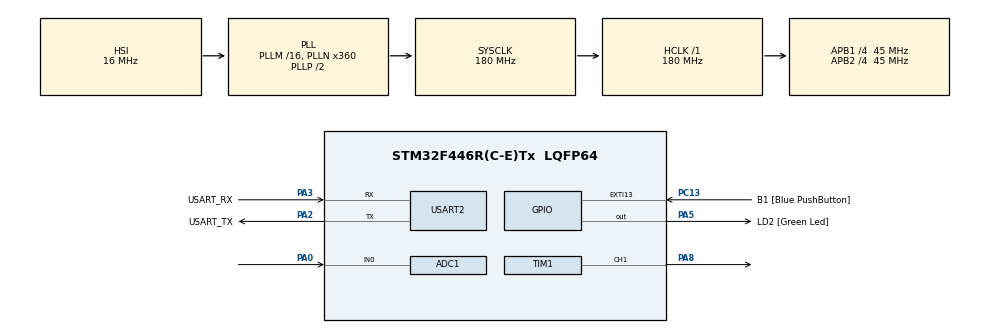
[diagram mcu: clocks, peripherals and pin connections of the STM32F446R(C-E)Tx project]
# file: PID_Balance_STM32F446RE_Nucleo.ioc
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ADC1.Channel-1\#ChannelRegularConversion=ADC_CHANNEL_0
ADC1.ContinuousConvMode=ENABLE
ADC1.NbrOfConversionFlag=1
ADC1.Rank-1\#ChannelRegularConversion=1
ADC1.SamplingTime-1\#ChannelRegularConversion=ADC_SAMPLETIME_3CYCLES
ADC1.ScanConvMode=ENABLE
ADC1.master=1
Mcu.Family=STM32F4
Mcu.Name=STM32F446R(C-E)Tx
Mcu.Package=LQFP64
NVIC.PriorityGroup=NVIC_PRIORITYGROUP_0
PA0-WKUP.Signal=ADCx_IN0
PA13.GPIO_Label=TMS
PA13.Mode=Trace_Asynchronous_SW
PA13.Signal=SYS_JTMS-SWDIO
PA14.GPIO_Label=TCK
PA14.Mode=Trace_Asynchronous_SW
PA14.Signal=SYS_JTCK-SWCLK
PA2.GPIO_Label=USART_TX
PA2.Mode=Asynchronous
PA2.Signal=USART2_TX
PA3.GPIO_Label=USART_RX
PA3.Mode=Asynchronous
PA3.Signal=USART2_RX
PA5.GPIO_Label=LD2 [Green Led]
PA5.Signal=GPIO_Output
PA8.Signal=S_TIM1_CH1
PB3.GPIO_Label=SWO
PB3.Mode=Trace_Asynchronous_SW
PB3.Signal=SYS_JTDO-SWO
PC13.GPIO_Label=B1 [Blue PushButton]
PC13.GPIO_ModeDefaultEXTI=GPIO_MODE_IT_FALLING
PC13.Signal=GPXTI13
PC14-OSC32_IN.Mode=LSE-External-Oscillator
PC14-OSC32_IN.Signal=RCC_OSC32_IN
PC15-OSC32_OUT.Mode=LSE-External-Oscillator
PC15-OSC32_OUT.Signal=RCC_OSC32_OUT
PH0-OSC_IN.Mode=HSE-External-Oscillator
PH0-OSC_IN.Signal=RCC_OSC_IN
PH1-OSC_OUT.Mode=HSE-External-Oscillator
PH1-OSC_OUT.Signal=RCC_OSC_OUT
ProjectManager.HeapSize=0x200
ProjectManager.StackSize=0x400
ProjectManager.TargetToolchain=STM32CubeIDE
RCC.48MHZClocksFreq_Value=84000000
RCC.AHBFreq_Value=180000000
RCC.APB1CLKDivider=RCC_HCLK_DIV4
RCC.APB1Freq_Value=45000000
RCC.APB1TimFreq_Value=90000000
RCC.APB2CLKDivider=RCC_HCLK_DIV4
RCC.APB2Freq_Value=45000000
RCC.APB2TimFreq_Value=90000000
RCC.CortexFreq_Value=180000000
RCC.FLatency-AdvancedSettings=FLASH_LATENCY_5
RCC.HCLKFreq_Value=180000000
RCC.HSE_VALUE=8000000
RCC.HSI_VALUE=16000000
RCC.PLLN=360
RCC.SYSCLKFreq_VALUE=180000000
RCC.SYSCLKSource=RCC_SYSCLKSOURCE_PLLCLK
RCC.USBFreq_Value=180000000
RCC.VCOOutputFreq_Value=360000000
SH.ADCx_IN0.0=ADC1_IN0,IN0
SH.S_TIM1_CH1.0=TIM1_CH1,PWM Generation1 CH1
TIM1.Channel-PWM\ Generation1\ CH1=TIM_CHANNEL_1
TIM1.Period=999
TIM1.Prescaler=8
TIM1.Pulse-PWM\ Generation1\ CH1=499
USART2.VirtualMode=VM_ASYNC
VP_TIM1_VS_ClockSourceINT.Mode=Internal
board=NUCLEO-F446RE

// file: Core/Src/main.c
/* USER CODE BEGIN Header */
/**
  ******************************************************************************
  * @file           : main.c
  * @brief          : Main program body
  ******************************************************************************
  * @attention
  *
  * Copyright (c) 2026 STMicroelectronics.
  * All rights reserved.
  *
  * This software is licensed under terms that can be found in the LICENSE file
  * in the root directory of this software component.
  * If no LICENSE file comes with this software, it is provided AS-IS.
  *
  ******************************************************************************
  */
/* USER CODE END Header */
#include "main.h"
#include "adc.h"
#include "tim.h"
#include "usart.h"
#include "gpio.h"

/* USER CODE BEGIN Includes */
#include <stdio.h>
/* USER CODE END Includes */

/* USER CODE BEGIN PTD */
typedef struct {
  float refAngle;
  float currentAngle;
  float Kp;
  float Ki;
  float Kd;
  float lastError;
  float error;
  float lastTime;
  float currentTime;
  float dt;
  float errorDerivative;
  float errorSum;
  float upperLimit;
  float lowerLimit;
  float output;
} PIDController;

/* USER CODE END PTD */

void SystemClock_Config(void);
void mapVtoPWM(float voltage, uint16_t *pwmValue);
void doPIDControl(PIDController *pid);
float adcToAngle(uint32_t adcValue);

int main(void)
{

  /* MCU Configuration--------------------------------------------------------*/

  /* Reset of all peripherals, Initializes the Flash interface and the Systick. */
  HAL_Init();

  /* USER CODE BEGIN Init */
  PIDController pid {
    .refAngle = 270.0f/2, // Midpoint
    .currentAngle = 0.0f,
    .Kp = 50.0f,
    .Ki = 0.1f,
    .Kd = 10.0f,
    .lastError = 0.0f,
    .error = 0.0f,
    .lastTime = 0.0f,
    .currentTime = 0.0f,
    .dt = 0.0f,
    .errorDerivative = 0.0f,
    .errorSum = 0.0f,
    .upperLimit = 3.0f,
    .lowerLimit = -3.0f,
    .output = 0.0f
  };
  /* USER CODE END Init */

  /* Configure the system clock */
  SystemClock_Config();

  /* Initialize all configured peripherals */
  MX_GPIO_Init();
  MX_ADC1_Init();
  MX_USART2_UART_Init();
  MX_TIM1_Init();

  /* Infinite loop */
  while (1)
  {

    HAL_ADC_START(&hadc1);
    if (HAL_ADC_PollForConversion(&hadc1, 100) == HAL_OK) {
      uint32_t adcValue = HAL_ADC_GetValue(&hadc1);
      pid.currentAngle = adcToAngle(adcValue);
    }

    doPIDControl(&pid);
    uint16_t pwmValue;
    mapVtoPWM(pid.output, &pwmValue);
    __HAL_TIM_SET_COMPARE(&htim1, TIM_CHANNEL_1, pwmValue);

  }
}

void SystemClock_Config(void)
{
  RCC_OscInitTypeDef RCC_OscInitStruct = {0};
  RCC_ClkInitTypeDef RCC_ClkInitStruct = {0};

  /** Configure the main internal regulator output voltage
  */
  __HAL_RCC_PWR_CLK_ENABLE();
  __HAL_PWR_VOLTAGESCALING_CONFIG(PWR_REGULATOR_VOLTAGE_SCALE1);

  /** Initializes the RCC Oscillators according to the specified parameters
  * in the RCC_OscInitTypeDef structure.
  */
  RCC_OscInitStruct.OscillatorType = RCC_OSCILLATORTYPE_HSI;
  RCC_OscInitStruct.HSIState = RCC_HSI_ON;
  RCC_OscInitStruct.HSICalibrationValue = RCC_HSICALIBRATION_DEFAULT;
  RCC_OscInitStruct.PLL.PLLState = RCC_PLL_ON;
  RCC_OscInitStruct.PLL.PLLSource = RCC_PLLSOURCE_HSI;
  RCC_OscInitStruct.PLL.PLLM = 16;
  RCC_OscInitStruct.PLL.PLLN = 360;
  RCC_OscInitStruct.PLL.PLLP = RCC_PLLP_DIV2;
  RCC_OscInitStruct.PLL.PLLQ = 2;
  RCC_OscInitStruct.PLL.PLLR = 2;
  if (HAL_RCC_OscConfig(&RCC_OscInitStruct) != HAL_OK)
  {
    Error_Handler();
  }

  /** Activate the Over-Drive mode
  */
  if (HAL_PWREx_EnableOverDrive() != HAL_OK)
  {
    Error_Handler();
  }

  /** Initializes the CPU, AHB and APB buses clocks
  */
  RCC_ClkInitStruct.ClockType = RCC_CLOCKTYPE_HCLK|RCC_CLOCKTYPE_SYSCLK
                              |RCC_CLOCKTYPE_PCLK1|RCC_CLOCKTYPE_PCLK2;
  RCC_ClkInitStruct.SYSCLKSource = RCC_SYSCLKSOURCE_PLLCLK;
  RCC_ClkInitStruct.AHBCLKDivider = RCC_SYSCLK_DIV1;
  RCC_ClkInitStruct.APB1CLKDivider = RCC_HCLK_DIV4;
  RCC_ClkInitStruct.APB2CLKDivider = RCC_HCLK_DIV4;

  if (HAL_RCC_ClockConfig(&RCC_ClkInitStruct, FLASH_LATENCY_5) != HAL_OK)
  {
    Error_Handler();
  }
}

/* USER CODE BEGIN 4 */
void mapVtoPWM(float voltage, uint16_t *pwmValue) {
  const float maxVoltage = 6.0f;
  const float minVoltage = 0.0f;
  const float tim1period = 999.0f;

  voltage += 3.0f;

  if (voltage > maxVoltage) {voltage = maxVoltage;}
  else if (voltage < minVoltage) {voltage = minVoltage;}

  dutyCycle = (voltage - minVoltage) / (maxVoltage - minVoltage);
  *pwmValue = (uint16_t)(dutyCycle * 1000);
}

void doPIDControl(PIDController *pid) {
  pid->currentTime = HAL_GetTick() / 1000.0f;
  pid->dt = pid->currentTime - pid->lastTime;
  pid->lastTime = pid->currentTime;

  pid-> error = pid->refAngle - pid->currentAngle;
  pid->errorSum += pid->error * pid->dt;
  pid->errorDerivative = (pid->error - pid->lastError) / pid->dt;
  pid->lastError = pid->error;

  float pidSum = pid->Kp * pid->error + pid->Ki * pid->errorSum + pid->Kd * pid->errorDerivative;
  if (pidSum > pid->upperLimit) {pidSum = pid->upperLimit;}
  else if (pidSum < pid->lowerLimit) {pidSum = pid->lowerLimit;}
  pid->output = pidSum;
}

float adcToAngle(uint32_t adcValue) {
  const float maxADCValue = 4095.0f; //12-bit ADC
  const float maxAngle = 270.0f;
  const float minAngle = 0.0f;
  return (float(adcValue)/maxADCValue) * (maxAngle - minAngle) + minAngle;
}
/* USER CODE END 4 */

void Error_Handler(void)
{
  __disable_irq();
  while (1)
  {
  }
}
